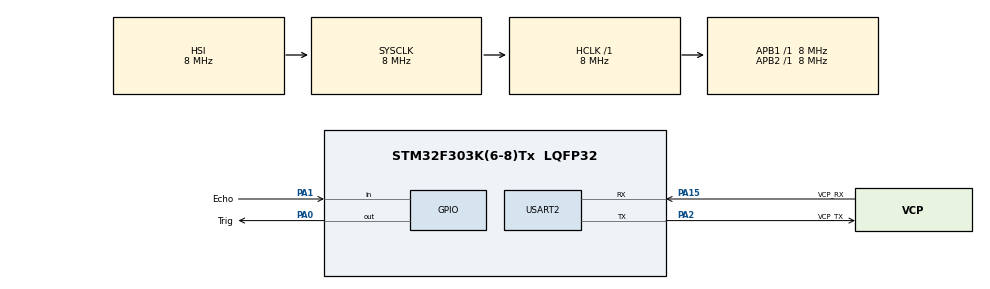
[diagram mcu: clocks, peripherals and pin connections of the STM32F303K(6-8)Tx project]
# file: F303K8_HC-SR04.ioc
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Mcu.Family=STM32F3
Mcu.Name=STM32F303K(6-8)Tx
Mcu.Package=LQFP32
NVIC.PriorityGroup=NVIC_PRIORITYGROUP_4
NVIC.TIM2_IRQn=true\:0\:0\:false\:false\:true\:true\:true\:true
PA0.GPIO_Label=Trig
PA0.GPIO_PuPd=GPIO_PULLUP
PA0.GPIO_Speed=GPIO_SPEED_FREQ_HIGH
PA0.PinState=GPIO_PIN_RESET
PA0.Signal=GPIO_Output
PA1.GPIO_Label=Echo
PA1.Signal=GPIO_Input
PA13.GPIO_Label=SWDIO
PA13.Mode=Serial_Wire
PA13.Signal=SYS_JTMS-SWDIO
PA14.GPIO_Label=SWCLK
PA14.Mode=Serial_Wire
PA14.Signal=SYS_JTCK-SWCLK
PA15.GPIO_Label=VCP_RX
PA15.Mode=Asynchronous
PA15.Signal=USART2_RX
PA2.GPIO_Label=VCP_TX
PA2.Mode=Asynchronous
PA2.Signal=USART2_TX
PF0\ /\ OSC_IN.GPIO_Label=MCO
PF0\ /\ OSC_IN.Mode=HSE-External-Clock-Source
PF0\ /\ OSC_IN.Signal=RCC_OSC_IN
ProjectManager.HeapSize=0x200
ProjectManager.StackSize=0x400
ProjectManager.TargetToolchain=STM32CubeIDE
RCC.AHBFreq_Value=8000000
RCC.APB1Freq_Value=8000000
RCC.APB2Freq_Value=8000000
RCC.CortexFreq_Value=8000000
RCC.HSE_VALUE=8000000
RCC.HSI_VALUE=8000000
RCC.SYSCLKFreq_VALUE=8000000
TIM2.Prescaler=8-1
USART2.VirtualMode-Asynchronous=VM_ASYNC
VP_TIM2_VS_ClockSourceINT.Mode=Internal
board=NUCLEO-F303K8

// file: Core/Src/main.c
/* USER CODE BEGIN Header */
/**
  ******************************************************************************
  * @file           : main.c
  * @brief          : Main program body
  ******************************************************************************
  * @attention
  *
  * Copyright (c) 2024 STMicroelectronics.
  * All rights reserved.
  *
  * This software is licensed under terms that can be found in the LICENSE file
  * in the root directory of this software component.
  * If no LICENSE file comes with this software, it is provided AS-IS.
  *
  ******************************************************************************
  */
/* USER CODE END Header */
#include "main.h"

/* USER CODE BEGIN PD */
#define DELTA_us 1
#define SONIC_SPEED 342.62
/* USER CODE END PD */

TIM_HandleTypeDef htim2;

UART_HandleTypeDef huart2;

/* USER CODE BEGIN PV */
uint8_t count = 0;
float distance;
/* USER CODE END PV */

void SystemClock_Config(void);
static void MX_GPIO_Init(void);
static void MX_USART2_UART_Init(void);
static void MX_TIM2_Init(void);

/* USER CODE BEGIN 0 */
void delay_10us(){
	__HAL_TIM_SET_COUNTER(&htim2, 0);
	while (__HAL_TIM_GET_COUNTER (&htim2) < 10);  // wait
}
/* USER CODE END 0 */

int main(void)
{

  /* MCU Configuration--------------------------------------------------------*/

  /* Reset of all peripherals, Initializes the Flash interface and the Systick. */
  HAL_Init();

  /* Configure the system clock */
  SystemClock_Config();

  /* Initialize all configured peripherals */
  MX_GPIO_Init();
  MX_USART2_UART_Init();
  MX_TIM2_Init();
  /* USER CODE BEGIN 2 */
  HAL_TIM_Base_Start_IT(&htim2);
  /* USER CODE END 2 */

  /* Infinite loop */
  /* USER CODE BEGIN WHILE */
  while (1)
  {
	  //set Trig on
	  HAL_GPIO_WritePin(Trig_GPIO_Port, Trig_Pin, GPIO_PIN_SET);
	  delay_10us();
	  HAL_GPIO_WritePin(Trig_GPIO_Port, Trig_Pin, GPIO_PIN_RESET);

	  //wait for echo signal is off
	  while(HAL_GPIO_ReadPin(Echo_GPIO_Port, Echo_Pin)==GPIO_PIN_RESET);

	  //measure time while high
	  __HAL_TIM_SET_COUNTER(&htim2, 0);
	  while(HAL_GPIO_ReadPin(Echo_GPIO_Port, Echo_Pin)==GPIO_PIN_SET);
	  uint32_t counter = __HAL_TIM_GET_COUNTER(&htim2);

	  //calculate distance(cm)
	  distance = (float) counter * DELTA_us /58;
    /* USER CODE END WHILE */

  }
}

void SystemClock_Config(void)
{
  RCC_OscInitTypeDef RCC_OscInitStruct = {0};
  RCC_ClkInitTypeDef RCC_ClkInitStruct = {0};

  /** Initializes the RCC Oscillators according to the specified parameters
  * in the RCC_OscInitTypeDef structure.
  */
  RCC_OscInitStruct.OscillatorType = RCC_OSCILLATORTYPE_HSI;
  RCC_OscInitStruct.HSIState = RCC_HSI_ON;
  RCC_OscInitStruct.HSICalibrationValue = RCC_HSICALIBRATION_DEFAULT;
  RCC_OscInitStruct.PLL.PLLState = RCC_PLL_NONE;
  if (HAL_RCC_OscConfig(&RCC_OscInitStruct) != HAL_OK)
  {
    Error_Handler();
  }

  /** Initializes the CPU, AHB and APB buses clocks
  */
  RCC_ClkInitStruct.ClockType = RCC_CLOCKTYPE_HCLK|RCC_CLOCKTYPE_SYSCLK
                              |RCC_CLOCKTYPE_PCLK1|RCC_CLOCKTYPE_PCLK2;
  RCC_ClkInitStruct.SYSCLKSource = RCC_SYSCLKSOURCE_HSI;
  RCC_ClkInitStruct.AHBCLKDivider = RCC_SYSCLK_DIV1;
  RCC_ClkInitStruct.APB1CLKDivider = RCC_HCLK_DIV1;
  RCC_ClkInitStruct.APB2CLKDivider = RCC_HCLK_DIV1;

  if (HAL_RCC_ClockConfig(&RCC_ClkInitStruct, FLASH_LATENCY_0) != HAL_OK)
  {
    Error_Handler();
  }
}

static void MX_TIM2_Init(void)
{

  TIM_ClockConfigTypeDef sClockSourceConfig = {0};
  TIM_MasterConfigTypeDef sMasterConfig = {0};

  htim2.Instance = TIM2;
  htim2.Init.Prescaler = 8-1;
  htim2.Init.CounterMode = TIM_COUNTERMODE_UP;
  htim2.Init.Period = 4294967295;
  htim2.Init.ClockDivision = TIM_CLOCKDIVISION_DIV1;
  htim2.Init.AutoReloadPreload = TIM_AUTORELOAD_PRELOAD_DISABLE;
  if (HAL_TIM_Base_Init(&htim2) != HAL_OK)
  {
    Error_Handler();
  }
  sClockSourceConfig.ClockSource = TIM_CLOCKSOURCE_INTERNAL;
  if (HAL_TIM_ConfigClockSource(&htim2, &sClockSourceConfig) != HAL_OK)
  {
    Error_Handler();
  }
  sMasterConfig.MasterOutputTrigger = TIM_TRGO_RESET;
  sMasterConfig.MasterSlaveMode = TIM_MASTERSLAVEMODE_DISABLE;
  if (HAL_TIMEx_MasterConfigSynchronization(&htim2, &sMasterConfig) != HAL_OK)
  {
    Error_Handler();
  }

}

static void MX_USART2_UART_Init(void)
{

  huart2.Instance = USART2;
  huart2.Init.BaudRate = 38400;
  huart2.Init.WordLength = UART_WORDLENGTH_8B;
  huart2.Init.StopBits = UART_STOPBITS_1;
  huart2.Init.Parity = UART_PARITY_NONE;
  huart2.Init.Mode = UART_MODE_TX_RX;
  huart2.Init.HwFlowCtl = UART_HWCONTROL_NONE;
  huart2.Init.OverSampling = UART_OVERSAMPLING_16;
  huart2.Init.OneBitSampling = UART_ONE_BIT_SAMPLE_DISABLE;
  huart2.AdvancedInit.AdvFeatureInit = UART_ADVFEATURE_NO_INIT;
  if (HAL_UART_Init(&huart2) != HAL_OK)
  {
    Error_Handler();
  }

}

static void MX_GPIO_Init(void)
{
  GPIO_InitTypeDef GPIO_InitStruct = {0};

  /* GPIO Ports Clock Enable */
  __HAL_RCC_GPIOF_CLK_ENABLE();
  __HAL_RCC_GPIOA_CLK_ENABLE();

  /*Configure GPIO pin Output Level */
  HAL_GPIO_WritePin(Trig_GPIO_Port, Trig_Pin, GPIO_PIN_RESET);

  /*Configure GPIO pin : Trig_Pin */
  GPIO_InitStruct.Pin = Trig_Pin;
  GPIO_InitStruct.Mode = GPIO_MODE_OUTPUT_PP;
  GPIO_InitStruct.Pull = GPIO_PULLUP;
  GPIO_InitStruct.Speed = GPIO_SPEED_FREQ_HIGH;
  HAL_GPIO_Init(Trig_GPIO_Port, &GPIO_InitStruct);

  /*Configure GPIO pin : Echo_Pin */
  GPIO_InitStruct.Pin = Echo_Pin;
  GPIO_InitStruct.Mode = GPIO_MODE_INPUT;
  GPIO_InitStruct.Pull = GPIO_NOPULL;
  HAL_GPIO_Init(Echo_GPIO_Port, &GPIO_InitStruct);

}

void Error_Handler(void)
{
  __disable_irq();
  while (1)
  {
  }
}
